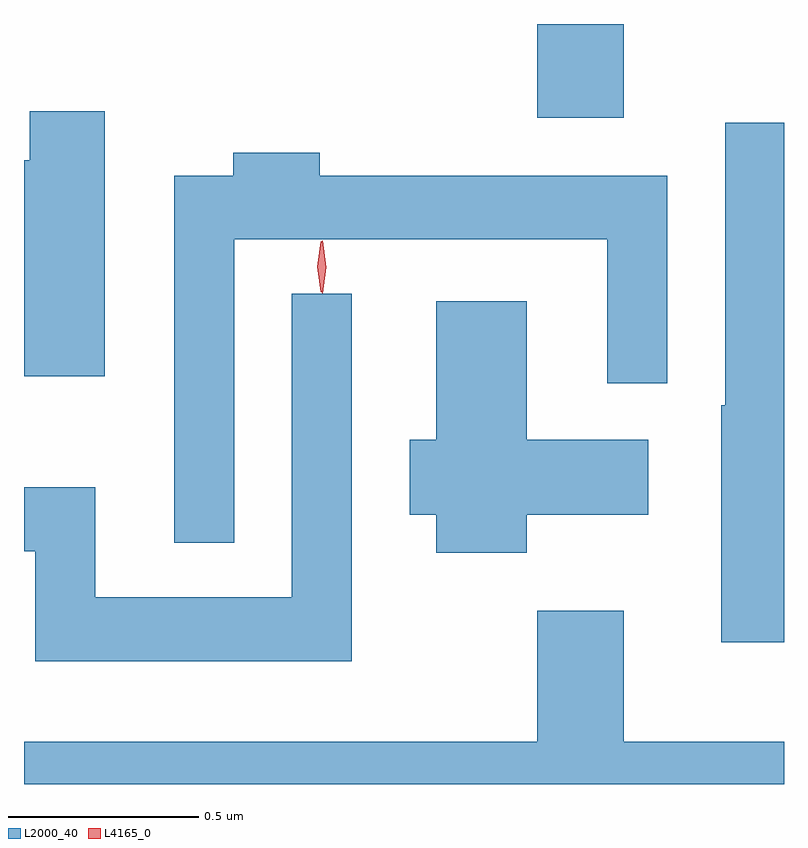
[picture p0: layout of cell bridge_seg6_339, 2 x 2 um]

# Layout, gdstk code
import gdstk
lib = gdstk.Library(unit=1e-6, precision=1e-09)
def R(c, l, rs):  # rectangles x0, y0, x1, y1
    for r in rs: c.add(gdstk.rectangle(r[:2], r[2:], *l))
def P(c, l, *ps):  # polygons
    for p in ps: c.add(gdstk.Polygon(p, *l))
L2000_40 = (2000, 40)
L4165_0 = (4165, 0)

bridge_seg6_339 = lib.new_cell('bridge_seg6_339')
R(bridge_seg6_339, L2000_40, [(1262.251,1547.506,1262.479,1547.753)])
P(bridge_seg6_339, L2000_40, [(1261.114,1547.524),(1260.916,1547.524),(1260.916,1547.394),(1260.901,1547.394),(1260.901,1546.826),(1261.114,1546.826)],
  [(1262.901,1547.493),(1262.746,1547.493),(1262.746,1546.75),(1262.736,1546.75),(1262.736,1546.126),(1262.901,1546.126)],
  [(1261.454,1547.186),(1262.436,1547.186),(1262.436,1546.808),(1262.594,1546.808),(1262.594,1547.354),(1261.679,1547.354),(1261.679,1547.414),(1261.451,1547.414),(1261.451,1547.354),(1261.296,1547.354),(1261.296,1546.388),(1261.454,1546.388)],
  [(1261.764,1547.043),(1261.606,1547.043),(1261.606,1546.244),(1261.089,1546.244),(1261.089,1546.534),(1260.901,1546.534),(1260.901,1546.366),(1260.931,1546.366),(1260.931,1546.076),(1261.764,1546.076)],
  [(1262.224,1546.461),(1262.544,1546.461),(1262.544,1546.659),(1262.224,1546.659),(1262.224,1547.024),(1261.986,1547.024),(1261.986,1546.659),(1261.916,1546.659),(1261.916,1546.461),(1261.986,1546.461),(1261.986,1546.361),(1262.224,1546.361)],
  [(1262.901,1545.864),(1262.479,1545.864),(1262.479,1546.209),(1262.251,1546.209),(1262.251,1545.864),(1260.901,1545.864),(1260.901,1545.753),(1262.901,1545.753)])
P(bridge_seg6_339, L4165_0, [(1261.683,1547.047),(1261.682,1547.048),(1261.673,1547.114),(1261.682,1547.18),(1261.683,1547.181),(1261.684,1547.18),(1261.693,1547.114),(1261.684,1547.048)],
  [(1261.686,1547.044),(1261.677,1547.113),(1261.686,1547.182),(1261.687,1547.183),(1261.687,1547.182),(1261.697,1547.113),(1261.687,1547.044),(1261.687,1547.044)])

lib.write_gds('bridge_seg6_339.gds')
